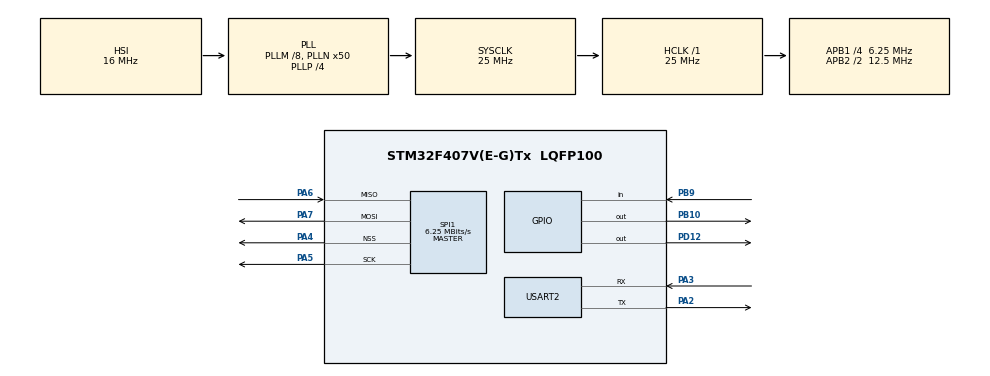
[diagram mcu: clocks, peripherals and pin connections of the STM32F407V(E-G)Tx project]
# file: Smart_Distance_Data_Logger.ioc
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FREERTOS.Queues01=DistanceQueue,10,4,1,Dynamic,NULL,NULL;AlertQueue,10,4,1,Dynamic,NULL,NULL
FREERTOS.Tasks01=sensorTask,32,256,StartSensorTask,Default,NULL,Dynamic,NULL,NULL;flashTask,24,256,StartFlashTask,Default,NULL,Dynamic,NULL,NULL;alertTask,24,128,StartAlertTask,Default,NULL,Dynamic,NULL,NULL;UARTTask,8,256,StartUARTTask,Default,NULL,Dynamic,NULL,NULL
Mcu.Family=STM32F4
Mcu.Name=STM32F407V(E-G)Tx
Mcu.Package=LQFP100
NVIC.PriorityGroup=NVIC_PRIORITYGROUP_4
PA2.Mode=Asynchronous
PA2.Signal=USART2_TX
PA3.Mode=Asynchronous
PA3.Signal=USART2_RX
PA4.Mode=NSS_Signal_Hard_Output
PA4.Signal=SPI1_NSS
PA5.Mode=Full_Duplex_Master
PA5.Signal=SPI1_SCK
PA6.Mode=Full_Duplex_Master
PA6.Signal=SPI1_MISO
PA7.Mode=Full_Duplex_Master
PA7.Signal=SPI1_MOSI
PB10.Signal=GPIO_Output
PB9.Signal=GPIO_Input
PD12.Signal=GPIO_Output
PH0-OSC_IN.Mode=HSE-External-Oscillator
PH0-OSC_IN.Signal=RCC_OSC_IN
PH1-OSC_OUT.Mode=HSE-External-Oscillator
PH1-OSC_OUT.Signal=RCC_OSC_OUT
ProjectManager.HeapSize=0x200
ProjectManager.StackSize=0x400
ProjectManager.TargetToolchain=STM32CubeIDE
RCC.48MHZClocksFreq_Value=14285714.285714285
RCC.AHBFreq_Value=25000000
RCC.APB1CLKDivider=RCC_HCLK_DIV4
RCC.APB1Freq_Value=6250000
RCC.APB1TimFreq_Value=12500000
RCC.APB2CLKDivider=RCC_HCLK_DIV2
RCC.APB2Freq_Value=12500000
RCC.APB2TimFreq_Value=25000000
RCC.CortexFreq_Value=25000000
RCC.HCLKFreq_Value=25000000
RCC.HSE_VALUE=8000000
RCC.HSI_VALUE=16000000
RCC.LSE_VALUE=32768
RCC.PLLM=8
RCC.PLLN=50
RCC.PLLP=RCC_PLLP_DIV4
RCC.PLLQ=7
RCC.SYSCLKFreq_VALUE=25000000
RCC.SYSCLKSource=RCC_SYSCLKSOURCE_PLLCLK
RCC.VCOOutputFreq_Value=100000000
SPI1.CalculateBaudRate=6.25 MBits/s
SPI1.Direction=SPI_DIRECTION_2LINES
SPI1.Mode=SPI_MODE_MASTER
SPI1.VirtualNSS=VM_NSSHARD
SPI1.VirtualType=VM_MASTER
TIM3.Prescaler=50-1
USART2.VirtualMode=VM_ASYNC
VP_FREERTOS_VS_CMSIS_V2.Mode=CMSIS_V2
VP_TIM3_VS_ClockSourceINT.Mode=Internal
board=STM32F407G-DISC1

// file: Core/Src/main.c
/* USER CODE BEGIN Header */
/**
 ******************************************************************************
 * @file           : main.c
 * @brief          : Main program body
 ******************************************************************************
 * @attention
 *
 * Copyright (c) 2026 STMicroelectronics.
 * All rights reserved.
 *
 * This software is licensed under terms that can be found in the LICENSE file
 * in the root directory of this software component.
 * If no LICENSE file comes with this software, it is provided AS-IS.
 *
 ******************************************************************************
 */
/* USER CODE END Header */
#include "main.h"
#include "cmsis_os.h"

/* USER CODE BEGIN Includes */
#include<stdio.h>
#include<string.h>
#include"freertos.h"
/* USER CODE END Includes */

SPI_HandleTypeDef hspi1;

TIM_HandleTypeDef htim3;

UART_HandleTypeDef huart2;
uint32_t latest_distance = 0;
uint32_t timestamp = 0;
/* Definitions for sensorTask */
osThreadId_t sensorTaskHandle;
const osThreadAttr_t sensorTask_attributes = {
		.name = "sensorTask",
		.stack_size = 256 * 4,
		.priority = (osPriority_t) osPriorityAboveNormal,
};
/* Definitions for flashTask */
osThreadId_t flashTaskHandle;
const osThreadAttr_t flashTask_attributes = {
		.name = "flashTask",
		.stack_size = 256 * 4,
		.priority = (osPriority_t) osPriorityNormal,
};
/* Definitions for alertTask */
osThreadId_t alertTaskHandle;
const osThreadAttr_t alertTask_attributes = {
		.name = "alertTask",
		.stack_size = 128 * 4,
		.priority = (osPriority_t) osPriorityNormal,
};
/* Definitions for UARTTask */
osThreadId_t UARTTaskHandle;
const osThreadAttr_t UARTTask_attributes = {
		.name = "UARTTask",
		.stack_size = 256 * 4,
		.priority = (osPriority_t) osPriorityLow,
};
/* Definitions for DistanceQueue */
osMessageQueueId_t DistanceQueueHandle;
const osMessageQueueAttr_t DistanceQueue_attributes = {
		.name = "DistanceQueue"
};
/* Definitions for AlertQueue */
osMessageQueueId_t AlertQueueHandle;
const osMessageQueueAttr_t AlertQueue_attributes = {
		.name = "AlertQueue"
};

void SystemClock_Config(void);
static void MX_GPIO_Init(void);
static void MX_SPI1_Init(void);
static void MX_TIM3_Init(void);
static void MX_USART2_UART_Init(void);
void StartSensorTask(void *argument);
void StartFlashTask(void *argument);
void StartAlertTask(void *argument);
void StartUARTTask(void *argument);

/* USER CODE BEGIN 0 */
void UART_Print(char *msg)
{
	HAL_UART_Transmit(&huart2,
			(uint8_t*)msg,
			strlen(msg),
			HAL_MAX_DELAY);
}
void delay_us(uint16_t us)
{
	__HAL_TIM_SET_COUNTER(&htim3, 0);
	while(__HAL_TIM_GET_COUNTER(&htim3) < us);
}
uint32_t get_distance(void)
{
	uint32_t duration;
	uint32_t timeout;

	HAL_GPIO_WritePin(GPIOB, GPIO_PIN_10, GPIO_PIN_RESET);
	delay_us(2);

	HAL_GPIO_WritePin(GPIOB, GPIO_PIN_10, GPIO_PIN_SET);
	delay_us(10);

	HAL_GPIO_WritePin(GPIOB, GPIO_PIN_10, GPIO_PIN_RESET);

	timeout = 30000;

	while(HAL_GPIO_ReadPin(GPIOB, GPIO_PIN_9) == GPIO_PIN_RESET)
	{
		if(--timeout == 0)
			return 0;
	}

	__HAL_TIM_SET_COUNTER(&htim3, 0);

	while(HAL_GPIO_ReadPin(GPIOB, GPIO_PIN_9) == GPIO_PIN_SET)
	{
		if(__HAL_TIM_GET_COUNTER(&htim3) > 30000)
			return 0;
	}

	duration = __HAL_TIM_GET_COUNTER(&htim3);

	return duration / 58;
}
/* USER CODE END 0 */

int main(void)
{

	/* MCU Configuration--------------------------------------------------------*/

	/* Reset of all peripherals, Initializes the Flash interface and the Systick. */
	HAL_Init();

	/* Configure the system clock */
	SystemClock_Config();

	/* Initialize all configured peripherals */
	MX_GPIO_Init();
	MX_SPI1_Init();
	MX_TIM3_Init();
	MX_USART2_UART_Init();

	/* USER CODE BEGIN 2 */
	HAL_TIM_Base_Start(&htim3);
	/* USER CODE END 2 */

	/* Init scheduler */
	osKernelInitialize();

	/* Create the queue(s) */
	/* creation of DistanceQueue */
	DistanceQueueHandle = osMessageQueueNew (10, 4, &DistanceQueue_attributes);

	/* creation of AlertQueue */
	AlertQueueHandle = osMessageQueueNew (10, 4, &AlertQueue_attributes);

	/* Create the thread(s) */
	/* creation of sensorTask */
	sensorTaskHandle = osThreadNew(StartSensorTask, NULL, &sensorTask_attributes);

	/* creation of flashTask */
	flashTaskHandle = osThreadNew(StartFlashTask, NULL, &flashTask_attributes);

	/* creation of alertTask */
	alertTaskHandle = osThreadNew(StartAlertTask, NULL, &alertTask_attributes);

	/* creation of UARTTask */
	UARTTaskHandle = osThreadNew(StartUARTTask, NULL, &UARTTask_attributes);

	/* Start scheduler */
	osKernelStart();

	/* We should never get here as control is now taken by the scheduler */

	/* Infinite loop */
	while (1)
	{

	}
}

void SystemClock_Config(void)
{
	RCC_OscInitTypeDef RCC_OscInitStruct = {0};
	RCC_ClkInitTypeDef RCC_ClkInitStruct = {0};

	/** Configure the main internal regulator output voltage
	 */
	__HAL_RCC_PWR_CLK_ENABLE();
	__HAL_PWR_VOLTAGESCALING_CONFIG(PWR_REGULATOR_VOLTAGE_SCALE1);

	/** Initializes the RCC Oscillators according to the specified parameters
	 * in the RCC_OscInitTypeDef structure.
	 */
	RCC_OscInitStruct.OscillatorType = RCC_OSCILLATORTYPE_HSI;
	RCC_OscInitStruct.HSIState = RCC_HSI_ON;
	RCC_OscInitStruct.HSICalibrationValue = RCC_HSICALIBRATION_DEFAULT;
	RCC_OscInitStruct.PLL.PLLState = RCC_PLL_ON;
	RCC_OscInitStruct.PLL.PLLSource = RCC_PLLSOURCE_HSI;
	RCC_OscInitStruct.PLL.PLLM = 8;
	RCC_OscInitStruct.PLL.PLLN = 50;
	RCC_OscInitStruct.PLL.PLLP = RCC_PLLP_DIV4;
	RCC_OscInitStruct.PLL.PLLQ = 7;
	if (HAL_RCC_OscConfig(&RCC_OscInitStruct) != HAL_OK)
	{
		Error_Handler();
	}

	/** Initializes the CPU, AHB and APB buses clocks
	 */
	RCC_ClkInitStruct.ClockType = RCC_CLOCKTYPE_HCLK|RCC_CLOCKTYPE_SYSCLK
			|RCC_CLOCKTYPE_PCLK1|RCC_CLOCKTYPE_PCLK2;
	RCC_ClkInitStruct.SYSCLKSource = RCC_SYSCLKSOURCE_PLLCLK;
	RCC_ClkInitStruct.AHBCLKDivider = RCC_SYSCLK_DIV1;
	RCC_ClkInitStruct.APB1CLKDivider = RCC_HCLK_DIV4;
	RCC_ClkInitStruct.APB2CLKDivider = RCC_HCLK_DIV2;

	if (HAL_RCC_ClockConfig(&RCC_ClkInitStruct, FLASH_LATENCY_0) != HAL_OK)
	{
		Error_Handler();
	}
}

static void MX_SPI1_Init(void)
{

	/* SPI1 parameter configuration*/
	hspi1.Instance = SPI1;
	hspi1.Init.Mode = SPI_MODE_MASTER;
	hspi1.Init.Direction = SPI_DIRECTION_2LINES;
	hspi1.Init.DataSize = SPI_DATASIZE_8BIT;
	hspi1.Init.CLKPolarity = SPI_POLARITY_LOW;
	hspi1.Init.CLKPhase = SPI_PHASE_1EDGE;
	hspi1.Init.NSS = SPI_NSS_HARD_OUTPUT;
	hspi1.Init.BaudRatePrescaler = SPI_BAUDRATEPRESCALER_2;
	hspi1.Init.FirstBit = SPI_FIRSTBIT_MSB;
	hspi1.Init.TIMode = SPI_TIMODE_DISABLE;
	hspi1.Init.CRCCalculation = SPI_CRCCALCULATION_DISABLE;
	hspi1.Init.CRCPolynomial = 10;
	if (HAL_SPI_Init(&hspi1) != HAL_OK)
	{
		Error_Handler();
	}

}

static void MX_TIM3_Init(void)
{

	TIM_ClockConfigTypeDef sClockSourceConfig = {0};
	TIM_MasterConfigTypeDef sMasterConfig = {0};

	htim3.Instance = TIM3;
	htim3.Init.Prescaler = 50-1;
	htim3.Init.CounterMode = TIM_COUNTERMODE_UP;
	htim3.Init.Period = 65535;
	htim3.Init.ClockDivision = TIM_CLOCKDIVISION_DIV1;
	htim3.Init.AutoReloadPreload = TIM_AUTORELOAD_PRELOAD_DISABLE;
	if (HAL_TIM_Base_Init(&htim3) != HAL_OK)
	{
		Error_Handler();
	}
	sClockSourceConfig.ClockSource = TIM_CLOCKSOURCE_INTERNAL;
	if (HAL_TIM_ConfigClockSource(&htim3, &sClockSourceConfig) != HAL_OK)
	{
		Error_Handler();
	}
	sMasterConfig.MasterOutputTrigger = TIM_TRGO_RESET;
	sMasterConfig.MasterSlaveMode = TIM_MASTERSLAVEMODE_DISABLE;
	if (HAL_TIMEx_MasterConfigSynchronization(&htim3, &sMasterConfig) != HAL_OK)
	{
		Error_Handler();
	}

}

static void MX_USART2_UART_Init(void)
{

	huart2.Instance = USART2;
	huart2.Init.BaudRate = 115200;
	huart2.Init.WordLength = UART_WORDLENGTH_8B;
	huart2.Init.StopBits = UART_STOPBITS_1;
	huart2.Init.Parity = UART_PARITY_NONE;
	huart2.Init.Mode = UART_MODE_TX_RX;
	huart2.Init.HwFlowCtl = UART_HWCONTROL_NONE;
	huart2.Init.OverSampling = UART_OVERSAMPLING_16;
	if (HAL_UART_Init(&huart2) != HAL_OK)
	{
		Error_Handler();
	}

}

static void MX_GPIO_Init(void)
{
	GPIO_InitTypeDef GPIO_InitStruct = {0};

	/* GPIO Ports Clock Enable */
	__HAL_RCC_GPIOH_CLK_ENABLE();
	__HAL_RCC_GPIOA_CLK_ENABLE();
	__HAL_RCC_GPIOB_CLK_ENABLE();
	__HAL_RCC_GPIOD_CLK_ENABLE();

	/*Configure GPIO pin Output Level */
	HAL_GPIO_WritePin(GPIOB, GPIO_PIN_10, GPIO_PIN_RESET);

	/*Configure GPIO pin Output Level */
	HAL_GPIO_WritePin(GPIOD, GPIO_PIN_12, GPIO_PIN_RESET);

	/*Configure GPIO pin : PB10 */
	GPIO_InitStruct.Pin = GPIO_PIN_10;
	GPIO_InitStruct.Mode = GPIO_MODE_OUTPUT_PP;
	GPIO_InitStruct.Pull = GPIO_NOPULL;
	GPIO_InitStruct.Speed = GPIO_SPEED_FREQ_LOW;
	HAL_GPIO_Init(GPIOB, &GPIO_InitStruct);

	/*Configure GPIO pin : PD12 */
	GPIO_InitStruct.Pin = GPIO_PIN_12;
	GPIO_InitStruct.Mode = GPIO_MODE_OUTPUT_PP;
	GPIO_InitStruct.Pull = GPIO_NOPULL;
	GPIO_InitStruct.Speed = GPIO_SPEED_FREQ_LOW;
	HAL_GPIO_Init(GPIOD, &GPIO_InitStruct);

	/*Configure GPIO pin : PB9 */
	GPIO_InitStruct.Pin = GPIO_PIN_9;
	GPIO_InitStruct.Mode = GPIO_MODE_INPUT;
	GPIO_InitStruct.Pull = GPIO_NOPULL;
	HAL_GPIO_Init(GPIOB, &GPIO_InitStruct);

}

void StartSensorTask(void *argument)
{
	/* USER CODE BEGIN 5 */
	/* Infinite loop */
	uint32_t distance;

	for(;;)
	{

		distance = get_distance();

		latest_distance = distance;

		osMessageQueuePut(
				DistanceQueueHandle,
				&distance,
				0,
				0);
		osMessageQueuePut(AlertQueueHandle,&distance,0,0);

		timestamp++;

		osDelay(100);
	}
	/* USER CODE END 5 */
}

void StartFlashTask(void *argument)
{
	/* USER CODE BEGIN StartFlashTask */
	/* Infinite loop */
	uint32_t distance;
	char msg[100];

	for(;;)
	{
		osMessageQueueGet(
				DistanceQueueHandle,
				&distance,
				NULL,
				osWaitForever);

		sprintf(msg,
				"Saved Distance = %lu cm\r\n",
				distance);

		UART_Print(msg);

		/*
	      Next step:
	      W25_Write_Page()
		 */
	}
	/* USER CODE END StartFlashTask */
}

void StartAlertTask(void *argument)
{
	/* USER CODE BEGIN StartAlertTask */
	/* Infinite loop */
	uint32_t distance;

	for(;;)
	{
		osMessageQueueGet(
				AlertQueueHandle,
				&distance,
				NULL,
				osWaitForever);

		if(distance < 30)
		{
			HAL_GPIO_WritePin(
					GPIOD,
					GPIO_PIN_12,
					GPIO_PIN_SET);
		}
		else
		{
			HAL_GPIO_WritePin(
					GPIOD,
					GPIO_PIN_12,
					GPIO_PIN_RESET);
		}
	}
	/* USER CODE END StartAlertTask */
}

void StartUARTTask(void *argument)
{
	/* USER CODE BEGIN StartUARTTask */
	/* Infinite loop */
	char msg[100];

	for(;;)
	{
		sprintf(msg,
				"Latest Distance = %lu cm\r\n",
				latest_distance);

		UART_Print(msg);

		osDelay(1000);
	}
	/* USER CODE END StartUARTTask */
}

void Error_Handler(void)
{
	__disable_irq();
	while (1)
	{
	}
}
